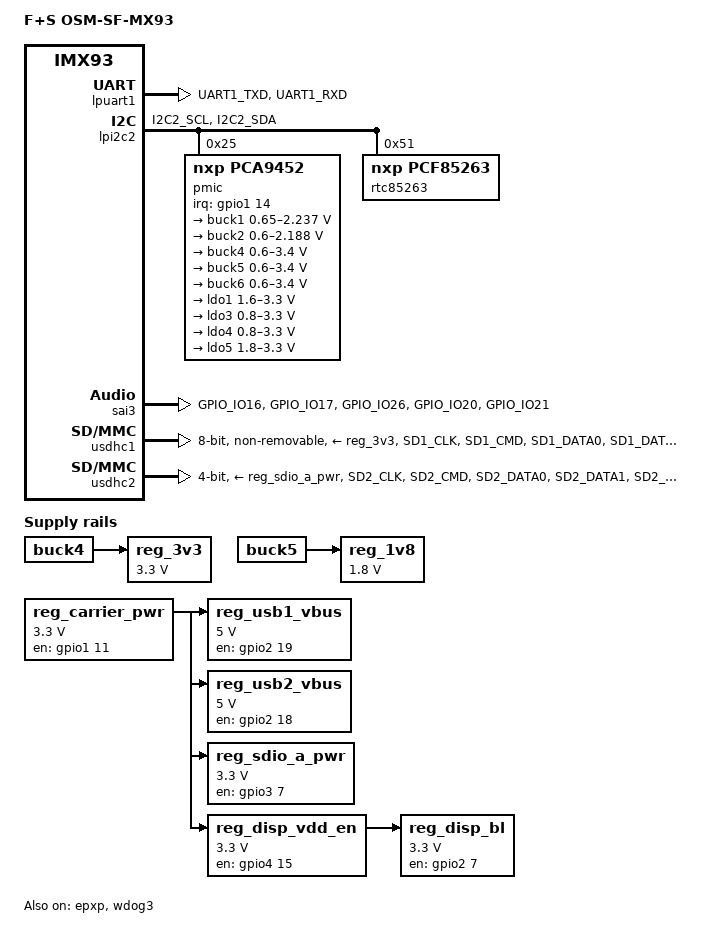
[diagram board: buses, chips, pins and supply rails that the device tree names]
/*
 * Copyright (C) 2024 F&S Elektronik Systeme GmbH
 *
 * This program is free software; you can redistribute it and/or modify
 * it under the terms of the GNU General Public License version 2 as
 * published by the Free Software Foundation.
 */

/dts-v1/;

#include <dt-bindings/pwm/pwm.h>
// #include <dt-bindings/usb/pd.h>
#include <dt-bindings/rtc/nxp,pcf85263.h>
#include <fsversion.h>
#include "../freescale/imx93.dtsi"

#define OSM_GPIO_A_0_PIN 30
#define OSM_GPIO_A_1_PIN 29
#define OSM_GPIO_A_2_PIN 15
#define OSM_GPIO_A_3_PIN 14
#define OSM_GPIO_A_4_PIN 13
#define OSM_GPIO_A_5_PIN 12

&ele_fw2 {
	memory-region = <&ele_reserved>;
};

/ {
	model = "F+S OSM-SF-MX93";
	compatible = "fus,imx93-fs-osm-sf-mx93", "fsl,imx93";

	chosen {
		bootargs = "console=ttyLP0,115200";
		stdout-path = &lpuart1;
	};

	aliases {
		ethernet0 = &osm_eth_a;
		ethernet1 = &osm_eth_b;
		serial0 = &osm_uart_con;
		serial1 = &osm_uart_a;
		serial2 = &osm_uart_b;
		serial3 = &osm_uart_c;
		serial4 = &osm_uart_d;
		serial5 = &lpuart4;
		serial6 = &lpuart6;
		serial7 = &lpuart7;
		i2c0 = &lpi2c2;
		i2c1 = &osm_i2c_a;
		i2c2 = &osm_i2c_b;
		i2c3 = &osm_i2c_cam;
		i2c4 = &lpi2c4;
		spi0 = &osm_spi_a;
		spi1 = &osm_spi_b;
		usb0 = &osm_usb_a;
		usb1 = &osm_usb_b;
		mmc1 = &osm_sdio_a;
		csi0 = &osm_csi; 
		rtc0 = &bbnsm_rtc;
		rtc1 = &rtc85263;
		pwm0 = &osm_pwm_0;
		pwm1 = &osm_pwm_1;
		pwm2 = &osm_pwm_2;
		
		/* specific */
		eeprom = &eeprom;
		rtcpcf85263 = &rtc85263;
	};

	/* -------------------- BOARD INFO -------------------- */
	bdinfo: bdinfo {
		compatible = "bdinfo";
		dts_version = FS_LINUX_VERSION;
	};

	reserved-memory {
		#address-cells = <2>;
		#size-cells = <2>;
		ranges;

		linux,cma {
			compatible = "shared-dma-pool";
			reusable;
			alloc-ranges = <0 0x80000000 0 0x40000000>;
			size = <0 0x10000000>;
			linux,cma-default;
		};


		ele_reserved: ele-reserved@87de0000 {
			compatible = "shared-dma-pool";
			reg = <0 0x87de0000 0 0x100000>;
			no-map;
		};

#ifdef SUPPORT_RPMSG
		ethosu_mem: ethosu_region@88000000 {
			compatible = "shared-dma-pool";
			reusable;
			reg = <0x0 0x88000000 0x0 0x8000000>;
		};

		vdev0vring0: vdev0vring0@87ee0000 {
			reg = <0 0x87ee0000 0 0x8000>;
			no-map;
		};

		vdev0vring1: vdev0vring1@87ee8000 {
			reg = <0 0x87ee8000 0 0x8000>;
			no-map;
		};

		vdev1vring0: vdev1vring0@87ef0000 {
			reg = <0 0x87ef0000 0 0x8000>;
			no-map;
		};

		vdev1vring1: vdev1vring1@87ef8000 {
			reg = <0 0x87ef8000 0 0x8000>;
			no-map;
		};

		rsc_table: rsc-table@2021e000 {
			reg = <0 0x2021e000 0 0x1000>;
			no-map;
		};

		vdevbuffer: vdevbuffer@87f00000 {
			compatible = "shared-dma-pool";
			reg = <0 0x87f00000 0 0x100000>;
			no-map;
		};
#endif /* SUPPORT_RPMSG */
	};

#ifdef SUPPORT_M33
	cm33: imx93-cm33 {
		compatible = "fsl,imx93-cm33";
#ifdef SUPPORT_RPMSG
		mbox-names = "tx", "rx", "rxdb";
		mboxes = <&mu1 0 1
			  &mu1 1 1
			  &mu1 3 1>;
		memory-region = <&vdevbuffer>, <&vdev0vring0>, <&vdev0vring1>,
				<&vdev1vring0>, <&vdev1vring1>, <&rsc_table>;
#endif /* SUPPORT_RPMSG */
		fsl,startup-delay-ms = <500>;
	};

	ethosu {
		compatible = "arm,ethosu";
		fsl,cm33-proc = <&cm33>;
		memory-region = <&ethosu_mem>;
		power-domains = <&mlmix>;
	};
#endif /* SUPPORT_M33 */

	regulators {
		compatible = "simple-bus";
		#address-cells = <1>;
		#size-cells = <0>;

		reg_usb1_vbus: regulator-usb1-vbus@0 {
			compatible = "regulator-fixed";
			reg = <0>;
			regulator-name = "usb1_vbus";
			pinctrl-names = "default";
			pinctrl-0 = <&pinctrl_usb1_en>;
			gpio = <&gpio2 19 GPIO_ACTIVE_HIGH>;
			regulator-min-microvolt = <5000000>;
			regulator-max-microvolt = <5000000>;
			vin-supply = <&reg_carrier_pwr>;
			enable-active-high;
		};

		reg_usb2_vbus: regulator-usb2-vbus@1 {
			compatible = "regulator-fixed";
			reg = <1>;
			regulator-name = "usb2_vbus";
			pinctrl-names = "default";
			pinctrl-0 = <&pinctrl_usb2_en>;
			gpio = <&gpio2 18 GPIO_ACTIVE_HIGH>;
			regulator-min-microvolt = <5000000>;
			regulator-max-microvolt = <5000000>;
			vin-supply = <&reg_carrier_pwr>;
			enable-active-high;
		};

		reg_sdio_a_pwr: regulator-sdioa-en@2 {
			compatible = "regulator-fixed";
			reg = <2>;
			regulator-name = "sdio-a-pwr";
			pinctrl-names = "default";
			pinctrl-0 = <&pinctrl_sdio_pwr_en>;
			gpio = <&gpio3 7 GPIO_ACTIVE_HIGH>;
			regulator-min-microvolt = <3300000>;
			regulator-max-microvolt = <3300000>;
			vin-supply = <&reg_carrier_pwr>;
			enable-active-high;
			off-on-delay-us = <12000>;
		};

		reg_disp_vdd_en: regulator_disp_vdd_en@3 {
			compatible = "regulator-fixed";
			reg = <3>;
			regulator-name = "display-vdd-en";
			pinctrl-names = "default";
			pinctrl-0 = <&pinctrl_disp_vdd_en>;
			gpio = <&gpio4 15 GPIO_ACTIVE_HIGH>;
			regulator-min-microvolt = <3300000>;
			regulator-max-microvolt = <3300000>;
			vin-supply = <&reg_carrier_pwr>;
			enable-active-high;
		};

		reg_disp_bl: regulator_disp_bl@4 {
			compatible = "regulator-fixed";
			reg = <4>;
			regulator-name = "display-bl-en";
			pinctrl-names = "default";
			pinctrl-0 = <&pinctrl_disp_bl_en>;
			gpio = <&gpio2 7 GPIO_ACTIVE_HIGH>;
			regulator-min-microvolt = <3300000>;
			regulator-max-microvolt = <3300000>;
			vin-supply = <&reg_disp_vdd_en>;
			enable-active-high;
		};

		reg_carrier_pwr: regulator_carrier@5 {
			compatible = "regulator-fixed";
			reg = <5>;
			regulator-name = "carrier-pwr-enable";
			pinctrl-names = "default";
			pinctrl-0 = <&pinctrl_carrier_en>;
			gpio = <&gpio1 11 GPIO_ACTIVE_HIGH>;
			regulator-min-microvolt = <3300000>;
			regulator-max-microvolt = <3300000>;
			enable-active-high;
			regulator-always-on;
			regulator-boot-on;
		};

		reg_3v3: regulator_3v3@6 {
			compatible = "regulator-fixed";
			reg = <6>;
			regulator-name = "3V3";
			regulator-min-microvolt = <3300000>;
			regulator-max-microvolt = <3300000>;
			vin-supply = <&buck4>;
			regulator-boot-on;
			regulator-always-on;
		};

		reg_1v8: regulator_1v8@7 {
			compatible = "regulator-fixed";
			reg = <7>;
			regulator-name = "1V8";
			regulator-min-microvolt = <1800000>;
			regulator-max-microvolt = <1800000>;
			vin-supply = <&buck5>;
			regulator-boot-on;
			regulator-always-on;
		};
	};

	backlight_ldb: backlight_ldb {
		compatible = "pwm-backlight";
		/* example configuration. adaptation may needed */
		pwms = <&osm_pwm_0 0 100000 PWM_POLARITY_INVERTED>;
		power-supply = <&reg_disp_bl>;
		brightness-levels = <0 1 5 10 18 28 41 56
							 73 92 113 137 163 192 222 255>;
		default-brightness-level = <14>;
		status = "disabled";
	};
};

&cpu_alert {
	temperature = <90000>;
	hysteresis = <2000>;
};

&cpu_crit {
	temperature = <105000>;
	hysteresis = <2000>;
};

/* UART declerations */
osm_uart_con: &lpuart1 {
	pinctrl-names = "default";
	pinctrl-0 = <&pinctrl_uart1>;
	status = "okay";
};

osm_uart_a: &lpuart2 {
	pinctrl-names = "default";
	pinctrl-0 = <&pinctrl_uart2>;
	status = "disabled";
};

osm_uart_c: &lpuart3 {
#if defined(CONFIG_OSMSFMX93_UARTC)
	pinctrl-names = "default";
	pinctrl-0 = <&pinctrl_uart3>;
#endif
	status = "disabled";
};

osm_uart_b: &lpuart5 {
	pinctrl-names = "default";
	pinctrl-0 = <&pinctrl_uart5>;
	status = "disabled";
};

osm_uart_d: &lpuart8 {
#if defined(CONFIG_OSMSFMX93_UARTD)
	pinctrl-names = "default";
	pinctrl-0 = <&pinctrl_uart8>;
#endif
	status = "disabled";
};

/* Ethernet declerations */
osm_eth_a: &eqos {
	pinctrl-names = "default";
	pinctrl-0 = <&pinctrl_eqos>;
	status = "disabled";

	mdio {
		compatible = "snps,dwmac-mdio";
		#address-cells = <1>;
		#size-cells = <0>;
		clock-frequency = <5000000>;
		status = "disabled";
	};
};

osm_eth_b: &fec {
	pinctrl-names = "default";
	pinctrl-0 = <&pinctrl_fec>;
	fsl,magic-packet;
	status = "disabled";

	/* MDIO is not usable */
};

/* GPIO declerations */
&gpio1 {
	gpio-line-names = \
		"","","","","",
		"","","","","",
		"",
		"OSM_CARRIER_PWR_EN",
		"","",
		"PMIC_IRQ",
		"","","","","",
		"","","","","",
		"","","","","",
		"","";
};

osm_gpio_a25: &gpio2 {
#if !defined(CONFIG_OSMSFMX93_UARTD) || !defined(CONFIG_OSMSFMX93_UARTC)
	pinctrl-names = "default", "sleep";
	pinctrl-0 = <&pinctrl_gpio2>;
	pinctrl-1 = <&pinctrl_gpio2>;
#endif
	status = "okay";
	gpio-line-names = \
		"","","","","","","", 
		"OSM_DISP_EN",
		"","","","",
		"OSM_GPIO_A_5",
		"OSM_GPIO_A_4",
		"OSM_GPIO_A_3",
		"OSM_GPIO_A_2",
		"","",
		"OSM_USB_B_EN",
		"OSM_USB_A_EN",
		"","","","",
		"OSM_SPI_CS1",
		"OSM_SDIO_A_WP",
		"","","","","","";
};

osm_gpio_a01: &gpio3 {
	pinctrl-names = "default", "sleep";
	pinctrl-0 = <&pinctrl_gpio3>;
	pinctrl-1 = <&pinctrl_gpio3>;
	gpio-line-names = \
		"","","","","",
		"","",
		"SDIO_A_PWR_EN",
		"","","","","",
		"","","","","",
		"","","","","",
		"","","","","",
		"",
		"OSM_GPIO_A_1",
		"OSM_GPIO_A_0",
		"";
	status = "okay";
};

&gpio4 {
	gpio-line-names = \
		"",
		"OSM_DISP_VDD_EN",
		"","","","","",
		"","","","","",
		"","",
		"OSM_SPI_A_CS1",
		"","","","","",
		"","","","","",
		"","","","",
		"OSM_DSI_TE",
		"","";
};

/* I2C declerations */
i2c_int: &lpi2c2 {
	#address-cells = <1>;
	#size-cells = <0>;
	pinctrl-names = "default";
	pinctrl-0 = <&pinctrl_lpi2c2>;
	status = "okay";

	pmic@25 {
		compatible = "nxp,pca9452";
		pinctrl-names = "default";
		pinctrl-0 = <&pinctrl_pmic_irq>;
		reg = <0x25>;
		interrupt-parent = <&gpio1>;
		interrupts = <14 IRQ_TYPE_EDGE_FALLING>;

		regulators {
			buck1: BUCK1 {
				regulator-name = "BUCK1";
				regulator-min-microvolt = <650000>;
				regulator-max-microvolt = <2237500>;
				regulator-boot-on;
				regulator-always-on;
				regulator-ramp-delay = <3125>;
			};

			buck2: BUCK2 {
				regulator-name = "BUCK2";
				regulator-min-microvolt = <600000>;
				regulator-max-microvolt = <2187500>;
				/* set properties in U-Boot when needed */
				// regulator-boot-on;
				// regulator-always-on;
				regulator-ramp-delay = <3125>;
			};

			buck4: BUCK4{
				regulator-name = "BUCK4";
				regulator-min-microvolt = <600000>;
				regulator-max-microvolt = <3400000>;
				regulator-boot-on;
				regulator-always-on;
			};

			buck5: BUCK5{
				regulator-name = "BUCK5";
				regulator-min-microvolt = <600000>;
				regulator-max-microvolt = <3400000>;
				regulator-boot-on;
				regulator-always-on;
			};

			buck6: BUCK6 {
				regulator-name = "BUCK6";
				regulator-min-microvolt = <600000>;
				regulator-max-microvolt = <3400000>;
				regulator-boot-on;
				regulator-always-on;
			};

			ldo1: LDO1 {
				regulator-name = "LDO1";
				regulator-min-microvolt = <1600000>;
				regulator-max-microvolt = <3300000>;
				regulator-boot-on;
				regulator-always-on;
			};

			ldo3: LDO3 {
				regulator-name = "LDO3";
				regulator-min-microvolt = <800000>;
				regulator-max-microvolt = <3300000>;
				regulator-boot-on;
				regulator-always-on;
			};

			ldo4: LDO4 {
				regulator-name = "LDO4";
				regulator-min-microvolt = <800000>;
				regulator-max-microvolt = <3300000>;
				regulator-boot-on;
				regulator-always-on;
			};

			ldo5: LDO5 {
				regulator-name = "LDO5";
				regulator-min-microvolt = <1800000>;
				regulator-max-microvolt = <3300000>;
				regulator-boot-on;
				regulator-always-on;
			};
		};
	};

	rtc85263: rtc85263@51 {
		compatible = "nxp,pcf85263";
		reg = <0x51>;
		clock-out = <PCF85263_CLK_OUT_32p768kHz>;
		quartz-load-capacitance = <PCF85263_QUARTZCAP_12p5pF>;
		quartz-drive-strength = <PCF85263_QUARTZDRIVE_LOW>;

	};
};

osm_i2c_a: &lpi2c1 {
	pinctrl-names = "default";
	pinctrl-0 = <&pinctrl_lpi2c1>;
	#address-cells = <1>;
	#size-cells = <0>;
	status = "disabled";

	eeprom: eeprom@50 {
		compatible = "atmel,24c02";
		reg = <0x50>;
		pagesize = <32>;
	};
};

osm_i2c_b: &lpi2c3 {
	pinctrl-names = "default";
	pinctrl-0 = <&pinctrl_lpi2c3>;
	#address-cells = <1>;
	#size-cells = <0>;
	status = "disabled";
};

osm_i2c_cam: &lpi2c5 {
	pinctrl-names = "default";
	pinctrl-0 = <&pinctrl_lpi2c5>;
	#address-cells = <1>;
	#size-cells = <0>;
	status = "disabled";
};

/* SPI declerations */
osm_spi_a: &flexspi1 {
	 pinctrl-names = "default";
	 pinctrl-0 = <&pinctrl_flexspi1>;
	 status = "disabled";
};

osm_spi_b: &lpspi3{
	pinctrl-names = "default";
	pinctrl-0 = <&pinctrl_lpspi3>;
	status = "disabled";
};

/* USB decleration */
/* usb dr_mode needs extra configuration */
osm_usb_a: &usbotg1 {
	vbus-supply = <&reg_usb1_vbus>;
	disable-over-current;
	samsung,picophy-pre-emp-curr-control = <3>;
	samsung,picophy-dc-vol-level-adjust = <7>;
	status = "disabled";
};

osm_usb_b: &usbotg2 {
	vbus-supply = <&reg_usb2_vbus>;
	disable-over-current;
	samsung,picophy-pre-emp-curr-control = <3>;
	samsung,picophy-dc-vol-level-adjust = <7>;
	status = "disabled";
};

/* CAN decleration */
osm_can_a: &flexcan1 {
	pinctrl-names = "default";
	pinctrl-0 = <&pinctrl_flexcan1>;
	status = "disabled";
};

osm_can_b: &flexcan2 {
	pinctrl-names = "default";
	pinctrl-0 = <&pinctrl_flexcan2>;
	status = "disabled";
};

/* I2S decleration */
osm_i2s_a: &sai3 {
	pinctrl-names = "default";
	pinctrl-0 = <&pinctrl_sai3>;
};

/* SDIO decleration */
&usdhc1 {
	pinctrl-names = "default", "state_100mhz", "state_200mhz";
	pinctrl-0 = <&pinctrl_usdhc1>;
	pinctrl-1 = <&pinctrl_usdhc1_100mhz>;
	pinctrl-2 = <&pinctrl_usdhc1_200mhz>;
	bus-width = <8>;
	non-removable;
	mmc-hs200-1_8v;
	mmc-hs400-1_8v;
	vmmc-supply = <&reg_3v3>;
	vqmmc-supply = <&reg_1v8>;
	status = "okay";
};

osm_sdio_a: &usdhc2 {
	pinctrl-names = "default", "state_100mhz", "state_200mhz";
	pinctrl-0 = <&pinctrl_usdhc2>;
	pinctrl-1 = <&pinctrl_usdhc2_100mhz>;
	pinctrl-2 = <&pinctrl_usdhc2_200mhz>;
	vmmc-supply = <&reg_sdio_a_pwr>;
	bus-width = <4>;
	wp-gpios = <&gpio2 25 GPIO_ACTIVE_HIGH>;
};


/* MISC */
osm_csi: &mipi_csi {
	#address-cells = <1>;
	#size-cells = <0>;
	status = "disabled";
};

osm_dsi: &dsi {
	status = "disabled";
};

&dphy {
	status = "disabled";
};

osm_pwm_0: &tpm5 {
	pinctrl-names = "default";
	pinctrl-0 = <&pinctrl_tpm5>;
	status = "disabled";
};

osm_pwm_2: &tpm4{
	pinctrl-names = "default";
	pinctrl-0 = <&pinctrl_tpm4>;
	status = "disabled";
};

osm_pwm_1: &tpm3 {
	pinctrl-names = "default";
	pinctrl-0 = <&pinctrl_tpm3>;
	status = "disabled";
};

&epxp {
	status = "okay";
};

&wdog3 {
	status = "okay";
};

&lcdif {
	status = "disabled";	
};

&ldb {
	status = "disabled";
};

&ldb_phy {
	status = "disabled";
};

&iomuxc {
	pinctrl_uart1: uart1grp {
		fsl,pins = <
			MX93_PAD_UART1_TXD__LPUART1_TX			0x31e
			MX93_PAD_UART1_RXD__LPUART1_RX			0x31e
		>;
	};

	pinctrl_uart2: uart2grp {
		fsl,pins = <
			MX93_PAD_UART2_TXD__LPUART2_TX			0x31e
			MX93_PAD_UART2_RXD__LPUART2_RX			0x31e
			MX93_PAD_SAI1_TXC__LPUART2_CTS_B		0x31e
			MX93_PAD_SAI1_TXD0__LPUART2_RTS_B		0x31e
		>;
	};

	pinctrl_uart5: uart5grp {
		fsl,pins = <
			MX93_PAD_GPIO_IO00__LPUART5_TX			0x31e
			MX93_PAD_GPIO_IO01__LPUART5_RX			0x31e
			MX93_PAD_GPIO_IO02__LPUART5_CTS_B		0x31e
			MX93_PAD_GPIO_IO03__LPUART5_RTS_B		0x31e
		>;
	};

	pinctrl_uart3: uart3grp {
		fsl,pins = <
			MX93_PAD_GPIO_IO14__LPUART3_TX			0x31e
			MX93_PAD_GPIO_IO15__LPUART3_RX			0x31e
		>;
	};

	pinctrl_uart8: uart8grp {
		fsl,pins = <
			MX93_PAD_GPIO_IO12__LPUART8_TX			0x31e
			MX93_PAD_GPIO_IO13__LPUART8_RX			0x31e
		>;
	};

#if !defined(CONFIG_OSMSFMX93_UARTD) || !defined(CONFIG_OSMSFMX93_UARTC)
	pinctrl_gpio2: gpio2grp {
		fsl,pins = <
#if !defined(CONFIG_OSMSFMX93_UARTD)
			MX93_PAD_GPIO_IO12__GPIO2_IO12			0x31e
			MX93_PAD_GPIO_IO13__GPIO2_IO13			0x31e
#endif
#if !defined(CONFIG_OSMSFMX93_UARTC)
			MX93_PAD_GPIO_IO14__GPIO2_IO14			0x31e
			MX93_PAD_GPIO_IO15__GPIO2_IO15			0x31e
#endif
		>;
	};
#endif

	pinctrl_gpio3: gpio3grp {
		fsl,pins = <
			MX93_PAD_DAP_TCLK_SWCLK__GPIO3_IO30	0x31e
			MX93_PAD_DAP_TMS_SWDIO__GPIO3_IO29	0x31e
		>;
	};

	pinctrl_lpi2c1: lpi2c1grp {
		fsl,pins = <
			MX93_PAD_I2C1_SCL__LPI2C1_SCL		0x40000b9e
			MX93_PAD_I2C1_SDA__LPI2C1_SDA		0x40000b9e
		>;
	};

	pinctrl_lpi2c2: lpi2c2grp {
		fsl,pins = <
			MX93_PAD_I2C2_SCL__LPI2C2_SCL		0x40000b9e
			MX93_PAD_I2C2_SDA__LPI2C2_SDA		0x40000b9e
		>;
	};

	pinctrl_pmic_irq: pmicirqgrp {
		fsl,pins = <
			MX93_PAD_SAI1_RXD0__GPIO1_IO14	0x31e
		>;
	};

	pinctrl_lpi2c3: lpi2c3grp {
		fsl,pins = <
			MX93_PAD_GPIO_IO29__LPI2C3_SCL		0x40000b9e
			MX93_PAD_GPIO_IO28__LPI2C3_SDA		0x40000b9e
		>;
	};

	pinctrl_lpi2c5: lpi2c5grp {
		fsl,pins = <
			MX93_PAD_GPIO_IO22__LPI2C5_SDA		0x40000b9e
			MX93_PAD_GPIO_IO23__LPI2C5_SCL		0x40000b9e
		>;
	};

	pinctrl_flexspi1: flexspi1grp {
		 fsl,pins = <
			 MX93_PAD_SD3_CLK__FLEXSPI1_A_SCLK	0x3fe
			 MX93_PAD_SD3_CMD__FLEXSPI1_A_SS0_B	0x3fe
			 MX93_PAD_SD3_DATA0__FLEXSPI1_A_DATA00	0x3fe
			 MX93_PAD_SD3_DATA1__FLEXSPI1_A_DATA01	0x3fe
			 MX93_PAD_SD3_DATA2__FLEXSPI1_A_DATA02	0x3fe
			 MX93_PAD_SD3_DATA3__FLEXSPI1_A_DATA03	0x3fe
			 MX93_PAD_ENET2_MDC__GPIO4_IO14		0x31e 	//OSM_SPI_A_CS1
		 >;
	};

	pinctrl_lpspi3: lpspi3grp {
		fsl,pins = <
			MX93_PAD_GPIO_IO08__LPSPI3_PCS0		0x3fe
			MX93_PAD_GPIO_IO09__LPSPI3_SIN		0x3fe
			MX93_PAD_GPIO_IO10__LPSPI3_SOUT		0x3fe
			MX93_PAD_GPIO_IO11__LPSPI3_SCK		0x3fe
			MX93_PAD_GPIO_IO24__GPIO2_IO24		0x31e	// OSM_SPI_B_CS1
		>;
	};

	pinctrl_usb1_en: usb1engrp {
		fsl,pins = <
			MX93_PAD_GPIO_IO19__GPIO2_IO19		0x31e
		>;
	};

	pinctrl_usb2_en: usb2engrp {
		fsl,pins = <
			MX93_PAD_GPIO_IO18__GPIO2_IO18		0x31e
		>;
	};

	pinctrl_flexcan1: flexcan1grp {
		fsl,pins = <
			MX93_PAD_PDM_CLK__CAN1_TX		0x139e
			MX93_PAD_PDM_BIT_STREAM0__CAN1_RX	0x139e
		>;
	};

	pinctrl_flexcan2: flexcan2grp {
		fsl,pins = <
			MX93_PAD_DAP_TDI__CAN2_TX		0x139e
			MX93_PAD_DAP_TDO_TRACESWO__CAN2_RX	0x139e
		>;
	};

	pinctrl_sai3: sai3grp {
		fsl,pins = <
			MX93_PAD_GPIO_IO16__SAI3_TX_BCLK	0x31e
			MX93_PAD_GPIO_IO17__SAI3_MCLK		0x31e
			MX93_PAD_GPIO_IO26__SAI3_TX_SYNC	0x31e
			MX93_PAD_GPIO_IO20__SAI3_RX_DATA00	0x31e
			MX93_PAD_GPIO_IO21__SAI3_TX_DATA00	0x31e
		>;
	};

	/* need to config the SION for data and cmd pad, refer to ERR052021 */
	pinctrl_usdhc1: usdhc1grp {
		fsl,pins = <
			MX93_PAD_SD1_CLK__USDHC1_CLK		0x1582
			MX93_PAD_SD1_CMD__USDHC1_CMD		0x40001382
			MX93_PAD_SD1_DATA0__USDHC1_DATA0	0x40001382
			MX93_PAD_SD1_DATA1__USDHC1_DATA1	0x40001382
			MX93_PAD_SD1_DATA2__USDHC1_DATA2	0x40001382
			MX93_PAD_SD1_DATA3__USDHC1_DATA3	0x40001382
			MX93_PAD_SD1_DATA4__USDHC1_DATA4	0x40001382
			MX93_PAD_SD1_DATA5__USDHC1_DATA5	0x40001382
			MX93_PAD_SD1_DATA6__USDHC1_DATA6	0x40001382
			MX93_PAD_SD1_DATA7__USDHC1_DATA7	0x40001382
			MX93_PAD_SD1_STROBE__USDHC1_STROBE	0x1582
		>;
	};

	/* need to config the SION for data and cmd pad, refer to ERR052021 */
	pinctrl_usdhc1_100mhz: usdhc1-100mhzgrp {
		fsl,pins = <
			MX93_PAD_SD1_CLK__USDHC1_CLK		0x158e
			MX93_PAD_SD1_CMD__USDHC1_CMD		0x4000138e
			MX93_PAD_SD1_DATA0__USDHC1_DATA0	0x4000138e
			MX93_PAD_SD1_DATA1__USDHC1_DATA1	0x4000138e
			MX93_PAD_SD1_DATA2__USDHC1_DATA2	0x4000138e
			MX93_PAD_SD1_DATA3__USDHC1_DATA3	0x4000138e
			MX93_PAD_SD1_DATA4__USDHC1_DATA4	0x4000138e
			MX93_PAD_SD1_DATA5__USDHC1_DATA5	0x4000138e
			MX93_PAD_SD1_DATA6__USDHC1_DATA6	0x4000138e
			MX93_PAD_SD1_DATA7__USDHC1_DATA7	0x4000138e
			MX93_PAD_SD1_STROBE__USDHC1_STROBE	0x158e
		>;
	};

	/* need to config the SION for data and cmd pad, refer to ERR052021 */
	pinctrl_usdhc1_200mhz: usdhc1-200mhzgrp {
		fsl,pins = <
			MX93_PAD_SD1_CLK__USDHC1_CLK		0x15fe
			MX93_PAD_SD1_CMD__USDHC1_CMD		0x400013fe
			MX93_PAD_SD1_DATA0__USDHC1_DATA0	0x400013fe
			MX93_PAD_SD1_DATA1__USDHC1_DATA1	0x400013fe
			MX93_PAD_SD1_DATA2__USDHC1_DATA2	0x400013fe
			MX93_PAD_SD1_DATA3__USDHC1_DATA3	0x400013fe
			MX93_PAD_SD1_DATA4__USDHC1_DATA4	0x400013fe
			MX93_PAD_SD1_DATA5__USDHC1_DATA5	0x400013fe
			MX93_PAD_SD1_DATA6__USDHC1_DATA6	0x400013fe
			MX93_PAD_SD1_DATA7__USDHC1_DATA7	0x400013fe
			MX93_PAD_SD1_STROBE__USDHC1_STROBE	0x15fe
		>;
	};

	pinctrl_sdio_pwr_en: sdiopwrengrp {
		fsl,pins = <
			MX93_PAD_SD2_RESET_B__GPIO3_IO07	0x31f
		>;
	};

	pinctrl_usdhc2: usdhc2grp {
		fsl,pins = <
			MX93_PAD_SD2_CLK__USDHC2_CLK		0x1582
			MX93_PAD_SD2_CMD__USDHC2_CMD		0x40001382
			MX93_PAD_SD2_DATA0__USDHC2_DATA0	0x40001382
			MX93_PAD_SD2_DATA1__USDHC2_DATA1	0x40001382
			MX93_PAD_SD2_DATA2__USDHC2_DATA2	0x40001382
			MX93_PAD_SD2_DATA3__USDHC2_DATA3	0x40001382
			MX93_PAD_SD2_CD_B__USDHC2_CD_B		0x31e
			MX93_PAD_SD2_VSELECT__USDHC2_VSELECT	0x51e
			/* WP */
			MX93_PAD_GPIO_IO25__GPIO2_IO25		0x51e
		>;
	};

	pinctrl_usdhc2_100mhz: usdhc2grp {
		fsl,pins = <
			MX93_PAD_SD2_CLK__USDHC2_CLK		0x158e
			MX93_PAD_SD2_CMD__USDHC2_CMD		0x4000138e
			MX93_PAD_SD2_DATA0__USDHC2_DATA0	0x4000138e
			MX93_PAD_SD2_DATA1__USDHC2_DATA1	0x4000138e
			MX93_PAD_SD2_DATA2__USDHC2_DATA2	0x4000138e
			MX93_PAD_SD2_DATA3__USDHC2_DATA3	0x4000138e
			MX93_PAD_SD2_CD_B__USDHC2_CD_B		0x31e
			MX93_PAD_SD2_VSELECT__USDHC2_VSELECT	0x51e
			MX93_PAD_GPIO_IO25__GPIO2_IO25		0x51e //SDIO_A_WP
		>;
	};

	pinctrl_usdhc2_200mhz: usdhc2grp {
		fsl,pins = <
			MX93_PAD_SD2_CLK__USDHC2_CLK		0x15fe
			MX93_PAD_SD2_CMD__USDHC2_CMD		0x400013fe
			MX93_PAD_SD2_DATA0__USDHC2_DATA0	0x400013fe
			MX93_PAD_SD2_DATA1__USDHC2_DATA1	0x400013fe
			MX93_PAD_SD2_DATA2__USDHC2_DATA2	0x400013fe
			MX93_PAD_SD2_DATA3__USDHC2_DATA3	0x400013fe
			MX93_PAD_SD2_CD_B__USDHC2_CD_B		0x31e
			MX93_PAD_SD2_VSELECT__USDHC2_VSELECT	0x51e
			/* WP */
			MX93_PAD_GPIO_IO25__GPIO2_IO25		0x51e
		>;
	};

	pinctrl_eqos: eqosgrp {
		fsl,pins = <
			MX93_PAD_ENET1_MDC__ENET_QOS_MDC				0x57e
			MX93_PAD_ENET1_MDIO__ENET_QOS_MDIO				0x57e
			MX93_PAD_ENET1_TD3__ENET_QOS_RGMII_TD3				0x57e
			MX93_PAD_ENET1_TD2__ENET_QOS_RGMII_TD2				0x57e
			MX93_PAD_ENET1_TD1__ENET_QOS_RGMII_TD1				0x57e
			MX93_PAD_ENET1_TD0__ENET_QOS_RGMII_TD0				0x57e
			MX93_PAD_ENET1_TX_CTL__ENET_QOS_RGMII_TX_CTL			0x57e
			MX93_PAD_ENET1_TXC__CCM_ENET_QOS_CLOCK_GENERATE_TX_CLK		0x57e
			MX93_PAD_ENET1_RX_CTL__ENET_QOS_RGMII_RX_CTL			0x57e
			MX93_PAD_ENET1_RXC__CCM_ENET_QOS_CLOCK_GENERATE_RX_CLK		0x57e
			MX93_PAD_ENET1_RD0__ENET_QOS_RGMII_RD0				0x57e
			MX93_PAD_ENET1_RD1__ENET_QOS_RGMII_RD1				0x57e
			MX93_PAD_ENET1_RD2__ENET_QOS_RGMII_RD2				0x57e
			MX93_PAD_ENET1_RD3__ENET_QOS_RGMII_RD3				0x57e
		>;
	};

	pinctrl_fec: fecgrp {
		fsl,pins = <
			MX93_PAD_ENET2_TD3__SAI2_RX_DATA00				0x57e
			MX93_PAD_ENET2_TD2__ENET1_RGMII_TD2				0x57e
			MX93_PAD_ENET2_TD1__ENET1_RGMII_TD1				0x57e
			MX93_PAD_ENET2_TD0__ENET1_RGMII_TD0				0x57e
			MX93_PAD_ENET2_TX_CTL__ENET1_RGMII_TX_CTL			0x57e
			MX93_PAD_ENET2_TXC__ENET1_RGMII_TXC				0x57e
			MX93_PAD_ENET2_RX_CTL__ENET1_RGMII_RX_CTL			0x57e
			MX93_PAD_ENET2_RXC__ENET1_RGMII_RXC				0x57e
			MX93_PAD_ENET2_RD0__ENET1_RGMII_RD0				0x57e
			MX93_PAD_ENET2_RD1__ENET1_RGMII_RD1				0x57e
			MX93_PAD_ENET2_RD2__ENET1_RGMII_RD2				0x57e
			MX93_PAD_ENET2_RD3__ENET1_RGMII_RD3				0x57e
		>;
	};

	pinctrl_dsi: dsigrp {
		fsl,pins = <
			MX93_PAD_CCM_CLKO4__GPIO4_IO29		0x51e	//DSI_TE
		>;
	};

	pinctrl_disp_bl_en: dispblengrp {
		fsl,pins = <
			MX93_PAD_GPIO_IO07__GPIO2_IO07		0x51e
		>;
	};

	pinctrl_tpm5: tpm5grp {
		fsl,pins = <
			MX93_PAD_GPIO_IO06__TPM5_CH0		0x51e	//DSI_PWM
		>;
	};

	pinctrl_tpm3: tpm3grp {
		fsl,pins = <
			MX93_PAD_GPIO_IO04__TPM3_CH0	0x51e	//PWM_1
		>;
	};

	pinctrl_tpm4: tpm4grp {
		fsl,pins = <
			MX93_PAD_GPIO_IO05__TPM4_CH0	0x51e	//PWM_2
		>;
	};

	pinctrl_disp_vdd_en: dispvddengrp {
		fsl,pins = <
			MX93_PAD_ENET2_MDIO__GPIO4_IO15		0x51e
		>;
	};

	pinctrl_carrier_en: carrierengrp{
		fsl,pins = <
			MX93_PAD_SAI1_TXFS__GPIO1_IO11		0x51e
		>;
	};
};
